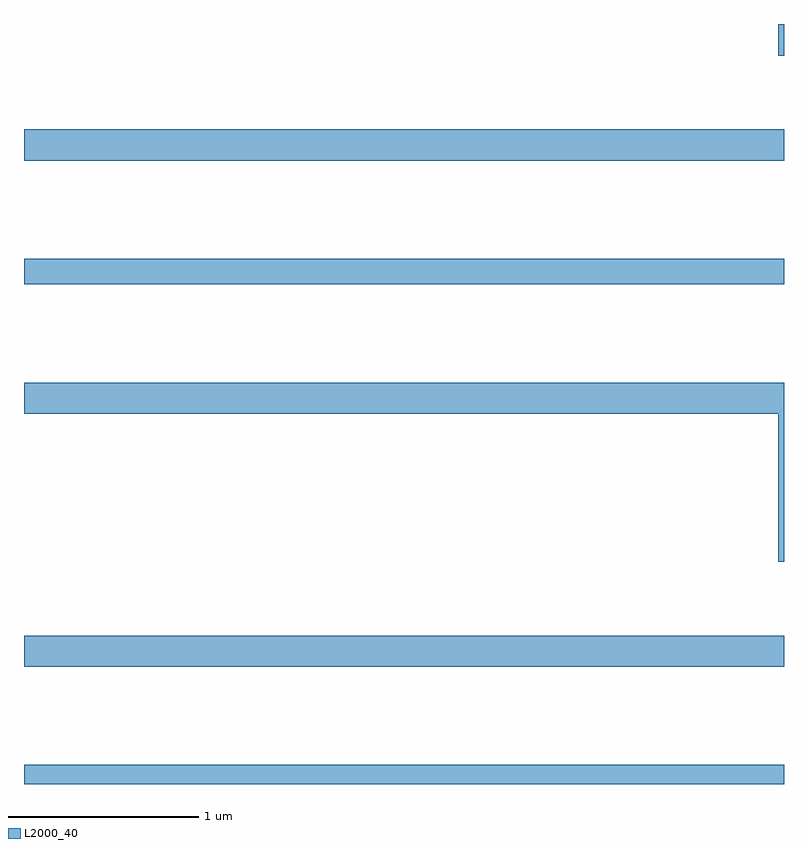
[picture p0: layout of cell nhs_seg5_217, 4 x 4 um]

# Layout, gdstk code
import gdstk
lib = gdstk.Library(unit=1e-6, precision=1e-09)
def R(c, l, rs):  # rectangles x0, y0, x1, y1
    for r in rs: c.add(gdstk.rectangle(r[:2], r[2:], *l))
def P(c, l, *ps):  # polygons
    for p in ps: c.add(gdstk.Polygon(p, *l))
L2000_40 = (2000, 40)

nhs_seg5_217 = lib.new_cell('nhs_seg5_217')
R(nhs_seg5_217, L2000_40, [(123,866.799,127,866.9), (123,867.416,127,867.58), (123,869.428,127,869.564), (123,870.08,127,870.244), (126.971,870.633,127,870.799)])
P(nhs_seg5_217, L2000_40, [(127,868.912),(123,868.912),(123,868.748),(126.971,868.748),(126.971,867.969),(127,867.969)])

lib.write_gds('nhs_seg5_217.gds')
